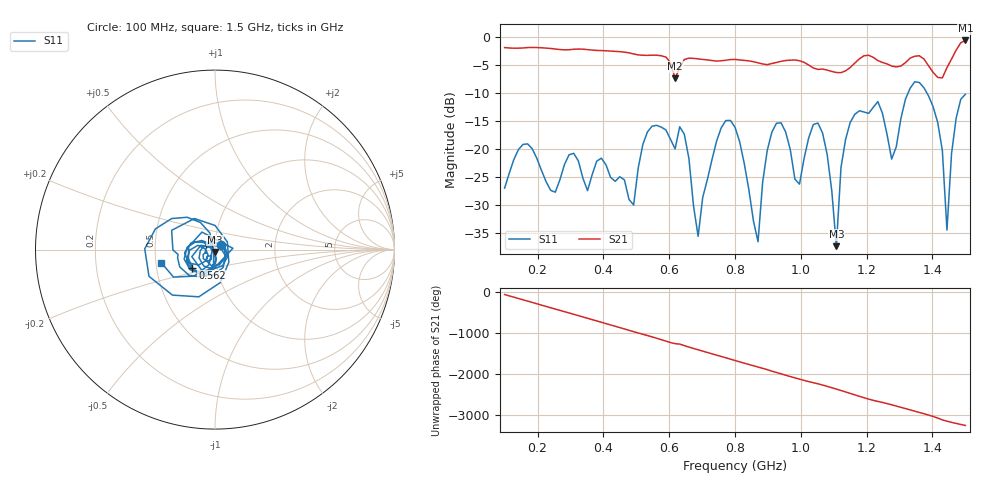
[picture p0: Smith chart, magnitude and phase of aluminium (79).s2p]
! NanoVNA-App
! Date: 2025-09-25 14:55:53
! Start: 100MHz Stop: 1,5GHz Points: 101
! S-Parameter data: F S11 S21 S12 S22
# Hz S RI R 50
!  Frequency  S11_Real  S11_Imag  S21_Real  S21_Imag  S12_Real  S12_Imag  S22_Real  S22_Imag
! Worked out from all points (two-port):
!   101 points, 100 MHz to 1.5 GHz, reference 50 ohm
!   highest |S21| = -0.65 dB at 1.5 GHz (marker M1); lowest = -7.4 dB at 618 MHz (marker M2)
!   |S21| within 3 dB of the highest: start of sweep to 590.6 MHz; 1.461 GHz to end of sweep (the widest 2 of 4)
!   lowest |S11| = -37.4 dB at 1.108 GHz (marker M3), VSWR 1.03, Z = 50 - j1.35 ohm
!   |S11| at or under -10 dB: start of sweep to 1.326 GHz; 1.383 GHz to end of sweep
!   S12 and S22 are empty: the file has one direction only
!   S11 on the Smith chart (normalised r, x): 100 MHz: 1.07, +0.06; 562 MHz: 0.76, -0.16; 1.5 GHz: 0.54, -0.09
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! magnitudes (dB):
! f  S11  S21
! 100 MHz  -27.0  -1.9
! 338 MHz  -25.2  -2.2
! 492 MHz  -30.0  -3.1
! 562 MHz  -15.8  -3.3
! 576 MHz  -16.1  -3.4
! 618 MHz  -20.0  -7.4
! 646 MHz  -17.4  -4.1
! 688 MHz  -35.6  -3.9
! 800 MHz  -16.1  -4.0
! 870 MHz  -36.6  -4.6
! 912 MHz  -17.0  -4.8
! 996 MHz  -26.3  -4.3
! 1.038 GHz  -15.6  -5.6
! 1.108 GHz  -37.4  -6.4
! 1.122 GHz  -23.3  -6.4
! 1.164 GHz  -13.8  -4.7
! 1.276 GHz  -21.8  -5.2
! 1.374 GHz  -9.1  -4.0
! 1.43 GHz  -20.3  -7.3
! 1.444 GHz  -34.5  -5.5
! 1.472 GHz  -14.5  -2.4
! 1.5 GHz  -10.2  -0.6
